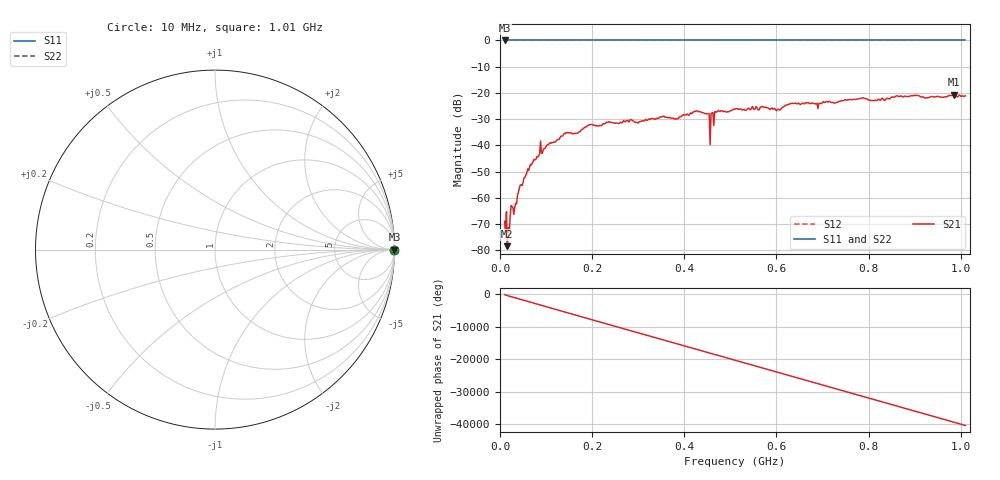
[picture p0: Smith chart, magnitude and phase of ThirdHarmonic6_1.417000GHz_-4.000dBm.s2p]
! 8/16/2025 4:16:16 PM
! C:\ANRITSUVNA\TEMP\TEMP.S2P
! CHANNEL.1
! TR.MEASUREMENT
! RAW.DATA
! RF.CORRECTION.OFF
! AVERAGING.OFF
! IF.BANDWIDTH: 5KHZ
! SWEEPTYPE:  FREQ.SWEEP(Linear)
! Reference Plane Port Info
! PORT:  PORT1  PORT2
! DISTANCE:  0  m  0  m
! TIME:  0  s  0  s
! PHASE.OFFSET:  0  deg.  0  deg.
! LOSS:  0  dB  0  dB
! REF.LOSS:  0  dB  0  dB
! REF.FREQ:  0  Hz  0  Hz
! Power Info
! POWER:  -20  dBm  -20  dBm
! EFF.POWER:  -20  dBm  -20  dBm
! SOURCE.ATTEN:  0  dB  0  dB
! TEST.ATTEN:  0  dB  0  dB
# GHZ S RI R 50.0
! FREQ.GHZ  S11RE  S11IM  S21RE  S21IM  S12RE  S12IM  S22RE  S22IM
!; PortSelection: Port_12
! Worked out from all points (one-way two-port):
!   501 points, 10 MHz to 1.01 GHz, reference 50 ohm
!   highest |S21| = -20.64 dB at 986 MHz (marker M1); lowest = -78.5 dB at 16 MHz (marker M2)
!   lowest |S11| = 0.0 dB at 10 MHz (marker M3)
!   |S11| at or under -10 dB: nowhere
!   |S22| runs from 0.0 to 0.0 dB; largest |S21 - S12| = 1.1
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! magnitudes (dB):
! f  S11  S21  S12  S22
! 10 MHz  0.0  -69.0  0.0  0.0
! 16 MHz  0.0  -78.5  0.0  0.0
! 26 MHz  0.0  -63.3  0.0  0.0
! 34 MHz  0.0  -62.1  0.0  0.0
! 42 MHz  0.0  -56.2  0.0  0.0
! 84 MHz  0.0  -44.1  0.0  0.0
! 142 MHz  0.0  -35.5  0.0  0.0
! 178 MHz  0.0  -34.0  0.0  0.0
! 344 MHz  0.0  -29.7  0.0  0.0
! 382 MHz  0.0  -29.8  0.0  0.0
! 430 MHz  0.0  -27.2  0.0  0.0
! 450 MHz  0.0  -27.9  0.0  0.0
! 452 MHz  0.0  -27.9  0.0  0.0
! 460 MHz  0.0  -27.7  0.0  0.0
! 462 MHz  0.0  -27.5  0.0  0.0
! 470 MHz  0.0  -27.4  0.0  0.0
! 510 MHz  0.0  -26.2  0.0  0.0
! 604 MHz  0.0  -26.2  0.0  0.0
! 678 MHz  0.0  -23.9  0.0  0.0
! 844 MHz  0.0  -22.3  0.0  0.0
! 986 MHz  0.0  -20.6  0.0  0.0
! 1.01 GHz  0.0  -21.1  0.0  0.0
